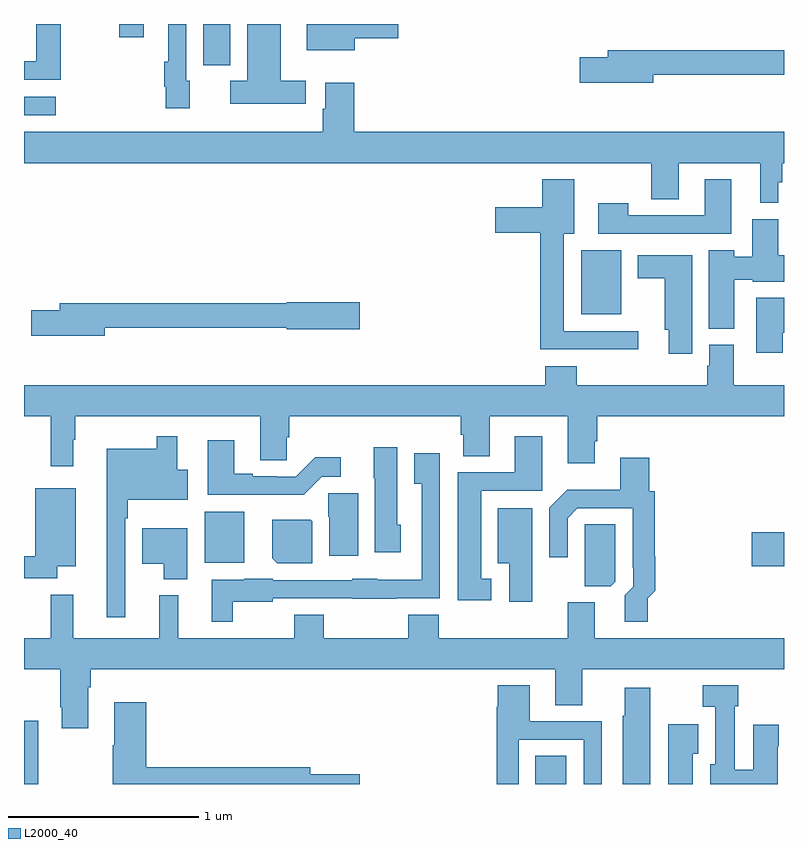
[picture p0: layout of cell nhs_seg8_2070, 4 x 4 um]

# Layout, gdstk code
import gdstk
lib = gdstk.Library(unit=1e-6, precision=1e-09)
def R(c, l, rs):  # rectangles x0, y0, x1, y1
    for r in rs: c.add(gdstk.rectangle(r[:2], r[2:], *l))
def P(c, l, *ps):  # polygons
    for p in ps: c.add(gdstk.Polygon(p, *l))
L2000_40 = (2000, 40)

nhs_seg8_2070 = lib.new_cell('nhs_seg8_2070')
R(nhs_seg8_2070, L2000_40, [(241,1111.9,241.075,1112.233), (243.692,1111.9,243.853,1112.048), (244.83,1113.046,245,1113.224), (241.952,1113.065,242.158,1113.334), (243.932,1114.373,244.144,1114.708), (241,1115.421,241.168,1115.517), (241.943,1115.683,242.086,1115.9), (241.501,1115.829,241.63,1115.9)])
P(nhs_seg8_2070, L2000_40, [(241.194,1115.9),(241.064,1115.9),(241.064,1115.703),(241,1115.703),(241,1115.607),(241.194,1115.607)],
  [(241.873,1115.601),(241.854,1115.601),(241.854,1115.9),(241.758,1115.9),(241.758,1115.701),(241.738,1115.701),(241.738,1115.569),(241.746,1115.569),(241.746,1115.457),(241.873,1115.457)],
  [(242.482,1115.602),(242.35,1115.602),(242.35,1115.9),(242.174,1115.9),(242.174,1115.602),(242.086,1115.602),(242.086,1115.48),(242.482,1115.48)],
  [(242.74,1115.825),(242.971,1115.825),(242.971,1115.9),(242.489,1115.9),(242.489,1115.762),(242.74,1115.762)],
  [(244.312,1115.634),(245,1115.634),(245,1115.762),(244.073,1115.762),(244.073,1115.726),(243.924,1115.726),(243.924,1115.591),(244.312,1115.591)],
  [(244.971,1115.067),(244.991,1115.067),(244.991,1115.168),(245,1115.168),(245,1115.332),(242.738,1115.332),(242.738,1115.59),(242.585,1115.59),(242.585,1115.453),(242.573,1115.453),(242.573,1115.332),(241,1115.332),(241,1115.168),(244.3,1115.168),(244.3,1114.978),(244.447,1114.978),(244.447,1115.168),(244.874,1115.168),(244.874,1114.958),(244.971,1114.958)],
  [(244.723,1115.083),(244.583,1115.083),(244.583,1114.893),(244.179,1114.893),(244.179,1114.957),(244.023,1114.957),(244.023,1114.797),(244.723,1114.797)],
  [(244.234,1114.284),(243.841,1114.284),(243.841,1114.796),(243.895,1114.796),(243.895,1115.083),(243.728,1115.083),(243.728,1114.936),(243.48,1114.936),(243.48,1114.802),(243.716,1114.802),(243.716,1114.187),(244.234,1114.187)],
  [(244.738,1114.553),(244.836,1114.553),(244.836,1114.544),(245,1114.544),(245,1114.682),(244.969,1114.682),(244.969,1114.873),(244.832,1114.873),(244.832,1114.675),(244.738,1114.675),(244.738,1114.708),(244.604,1114.708),(244.604,1114.297),(244.738,1114.297)],
  [(244.516,1114.684),(244.229,1114.684),(244.229,1114.562),(244.373,1114.562),(244.373,1114.29),(244.394,1114.29),(244.394,1114.164),(244.516,1114.164)],
  [(244.993,1114.275),(245,1114.275),(245,1114.459),(244.853,1114.459),(244.853,1114.17),(244.993,1114.17)],
  [(241.426,1114.302),(242.382,1114.302),(242.382,1114.294),(242.767,1114.294),(242.767,1114.436),(242.382,1114.436),(242.382,1114.43),(241.187,1114.43),(241.187,1114.394),(241.038,1114.394),(241.038,1114.259),(241.426,1114.259)],
  [(241,1113.836),(241.141,1113.836),(241.141,1113.573),(241.258,1113.573),(241.258,1113.713),(241.27,1113.713),(241.27,1113.836),(242.243,1113.836),(242.243,1113.604),(242.382,1113.604),(242.382,1113.726),(242.396,1113.726),(242.396,1113.836),(243.299,1113.836),(243.299,1113.737),(243.311,1113.737),(243.311,1113.625),(243.451,1113.625),(243.451,1113.836),(243.863,1113.836),(243.863,1113.588),(244.003,1113.588),(244.003,1113.703),(244.016,1113.703),(244.016,1113.836),(245,1113.836),(245,1114),(244.735,1114),(244.735,1114.212),(244.607,1114.212),(244.607,1114.101),(244.595,1114.101),(244.595,1114),(243.908,1114),(243.908,1114.099),(243.743,1114.099),(243.743,1114),(241,1114)],
  [(243.46,1112.981),(243.406,1112.981),(243.406,1113.444),(243.727,1113.444),(243.727,1113.73),(243.584,1113.73),(243.584,1113.54),(243.284,1113.54),(243.284,1112.868),(243.46,1112.868)],
  [(241.533,1113.299),(241.546,1113.299),(241.546,1113.395),(241.861,1113.395),(241.861,1113.553),(241.807,1113.553),(241.807,1113.73),(241.698,1113.73),(241.698,1113.664),(241.436,1113.664),(241.436,1112.778),(241.533,1112.778)],
  [(242.568,1113.516),(242.668,1113.516),(242.668,1113.619),(242.533,1113.619),(242.43,1113.516),(242.33,1113.516),(242.33,1113.519),(242.203,1113.519),(242.203,1113.532),(242.107,1113.532),(242.107,1113.709),(241.967,1113.709),(241.967,1113.422),(242.473,1113.422)],
  [(242.983,1113.264),(242.965,1113.264),(242.965,1113.673),(242.84,1113.673),(242.84,1113.51),(242.846,1113.51),(242.846,1113.12),(242.983,1113.12)],
  [(242.098,1112.858),(242.31,1112.858),(242.31,1112.877),(242.727,1112.877),(242.727,1112.876),(242.959,1112.876),(242.959,1112.877),(243.189,1112.877),(243.189,1113.64),(243.053,1113.64),(243.053,1113.479),(243.093,1113.479),(243.093,1112.974),(242.859,1112.974),(242.859,1112.98),(242.727,1112.98),(242.727,1112.973),(242.31,1112.973),(242.31,1112.98),(242.16,1112.98),(242.16,1112.974),(241.988,1112.974),(241.988,1112.753),(242.098,1112.753)],
  [(244.283,1112.877),(244.322,1112.916),(244.322,1113.098),(244.319,1113.098),(244.319,1113.441),(244.292,1113.441),(244.292,1113.616),(244.139,1113.616),(244.139,1113.448),(243.859,1113.448),(243.765,1113.354),(243.765,1113.093),(243.861,1113.093),(243.861,1113.3),(243.912,1113.351),(244.203,1113.351),(244.203,1113.037),(244.206,1113.037),(244.206,1112.937),(244.163,1112.894),(244.163,1112.754),(244.283,1112.754)],
  [(241.174,1113.047),(241.273,1113.047),(241.273,1113.457),(241.058,1113.457),(241.058,1113.098),(241,1113.098),(241,1112.982),(241.174,1112.982)],
  [(242.758,1113.429),(242.602,1113.429),(242.602,1113.306),(242.606,1113.306),(242.606,1113.102),(242.758,1113.102)],
  [(243.676,1113.352),(243.494,1113.352),(243.494,1113.062),(243.554,1113.062),(243.554,1112.859),(243.676,1112.859)],
  [(242.518,1113.284),(242.51,1113.292),(242.306,1113.292),(242.306,1113.088),(242.332,1113.062),(242.518,1113.062)],
  [(244.113,1112.964),(244.113,1113.266),(243.951,1113.266),(243.951,1113.155),(243.95,1113.155),(243.95,1112.941),(244.089,1112.941)],
  [(241.858,1113.247),(241.622,1113.247),(241.622,1113.059),(241.736,1113.059),(241.736,1112.978),(241.858,1112.978)],
  [(243.797,1112.314),(243.937,1112.314),(243.937,1112.504),(245,1112.504),(245,1112.668),(244.003,1112.668),(244.003,1112.856),(243.863,1112.856),(243.863,1112.668),(243.182,1112.668),(243.182,1112.792),(243.022,1112.792),(243.022,1112.668),(242.577,1112.668),(242.577,1112.792),(242.422,1112.792),(242.422,1112.668),(241.811,1112.668),(241.811,1112.893),(241.712,1112.893),(241.712,1112.668),(241.259,1112.668),(241.259,1112.897),(241.141,1112.897),(241.141,1112.668),(241,1112.668),(241,1112.504),(241.192,1112.504),(241.192,1112.305),(241.199,1112.305),(241.199,1112.193),(241.339,1112.193),(241.339,1112.408),(241.352,1112.408),(241.352,1112.504),(243.797,1112.504)],
  [(243.603,1112.133),(243.945,1112.133),(243.945,1111.9),(244.041,1111.9),(244.041,1112.229),(243.661,1112.229),(243.661,1112.419),(243.494,1112.419),(243.494,1112.306),(243.487,1112.306),(243.487,1111.9),(243.603,1111.9)],
  [(244.968,1112.099),(244.973,1112.099),(244.973,1112.212),(244.838,1112.212),(244.838,1111.976),(244.741,1111.976),(244.741,1112.309),(244.759,1112.309),(244.759,1112.419),(244.572,1112.419),(244.572,1112.306),(244.637,1112.306),(244.637,1112.004),(244.613,1112.004),(244.613,1111.9),(244.968,1111.9)],
  [(244.297,1112.407),(244.163,1112.407),(244.163,1112.259),(244.151,1112.259),(244.151,1111.9),(244.297,1111.9)],
  [(242.767,1111.952),(242.506,1111.952),(242.506,1111.988),(241.643,1111.988),(241.643,1112.329),(241.475,1112.329),(241.475,1112.105),(241.468,1112.105),(241.468,1111.9),(242.767,1111.9)],
  [(244.519,1112.059),(244.549,1112.059),(244.549,1112.215),(244.391,1112.215),(244.391,1111.9),(244.519,1111.9)])

lib.write_gds('nhs_seg8_2070.gds')
